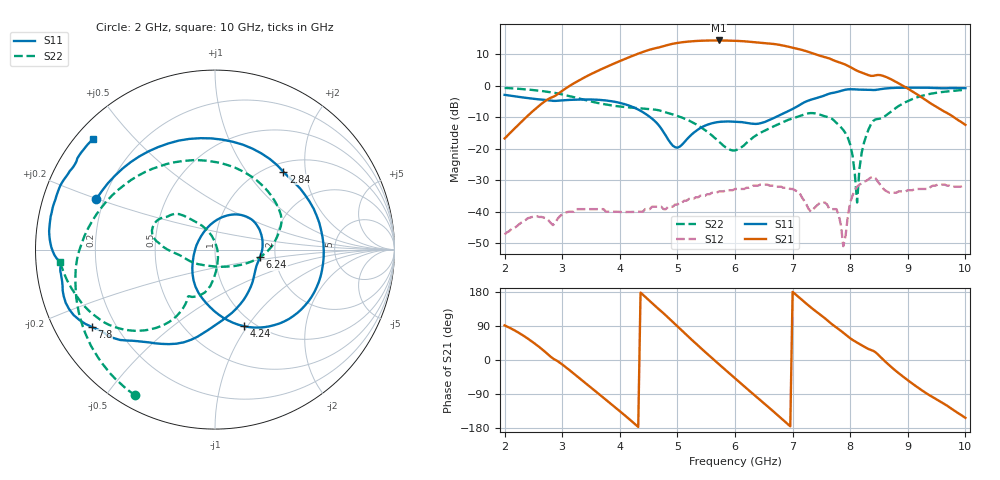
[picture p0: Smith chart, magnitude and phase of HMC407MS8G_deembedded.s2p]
!Hittite Microwave Corporation
!12 Elizabeth Drive
!Chelmsford, MA 01824
!Tel: 978-250-3343
!Fax: 978-250-3373
!Device: HMC407MS8G, 5-7 GHz, GaAs InGaP HBT MMIC Power Amplifier in 8-lead grounded base MSOP package
!Misc: Vs=5V, Vpd=5V, Room
# MHZ S MA R 50
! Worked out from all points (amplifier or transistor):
!   201 points, 2 GHz to 10 GHz, reference 50 ohm
!   highest |S21| = 14.4 dB at 5.72 GHz (marker M1)
!   |S21| within 3 dB of that: 4.508 GHz to 7.162 GHz (2.654 GHz wide, 45.5 % of centre)
!   unconditionally stable (mu >= 1): start of sweep to end of sweep
!   at 3.32 GHz: K = 14.47, MAG = 6.0 dB, |S12| = -39.2 dB
!   at 6 GHz: K = 3.91, MAG = 14.7 dB, |S12| = -32.8 dB
!   at 10 GHz: K = 2.60, MAG = 2.7 dB, |S12| = -31.7 dB
!   S11 on the Smith chart (normalised r, x): 2 GHz: 0.17, +0.20; 2.84 GHz: 1.16, +1.52; 4.24 GHz: 0.89, -0.96; 6.24 GHz: 1.66, -0.15; 7.8 GHz: 0.11, -0.28; 10 GHz: 0.05, +0.38
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2000  0.719 157.1  0.146 91.3  0.004363 105.8  0.926 -118.7
2840  0.577 48.8  0.667 4.0  0.006135 27.3  0.782 -172.7
3360  0.607 -4.1  1.318 -55.4  0.011 -5.2  0.607 140.1
3840  0.572 -40.3  2.137 -114.9  0.01 -35.3  0.49 91.2
4240  0.455 -69.5  3.041 -166.0  0.009936 -46.3  0.447 56.1
4680  0.234 -117.6  4.074 133.8  0.012 -62.2  0.408 24.8
4960  0.106 166.6  4.73 94.6  0.013 -64.5  0.341 8.9
5160  0.14 101.3  5.017 65.9  0.015 -72.0  0.292 -1.9
5440  0.224 61.0  5.212 26.8  0.018 -87.3  0.21 -19.0
5720  0.267 36.5  5.255 -11.0  0.021 -104.2  0.13 -45.7
6000  0.27 13.8  5.188 -48.2  0.023 -122.1  0.094 -100.7
6240  0.254 -9.7  5.021 -80.0  0.024 -135.9  0.133 -144.9
6520  0.267 -36.4  4.778 -116.1  0.027 -160.4  0.195 -170.1
6800  0.35 -70.3  4.426 -153.8  0.025 175.5  0.257 -179.1
7080  0.47 -98.0  3.877 169.6  0.021 146.5  0.32 172.8
7360  0.619 -122.5  3.247 133.6  0.011 157.0  0.368 157.4
7800  0.811 -148.0  2.376 81.5  0.008939 129.1  0.239 130.9
7880  0.851 -152.5  2.242 71.9  0.002838 154.9  0.199 126.3
8120  0.873 -166.6  1.736 45.8  0.025 -167.1  0.014 -7.8
8280  0.87 -172.2  1.524 31.9  0.031 164.1  0.163 -92.7
8680  0.918 177.7  1.311 -14.1  0.02 116.3  0.371 -118.6
10000  0.918 138.0  0.24 -152.6  0.026 69.6  0.866 -175.4
